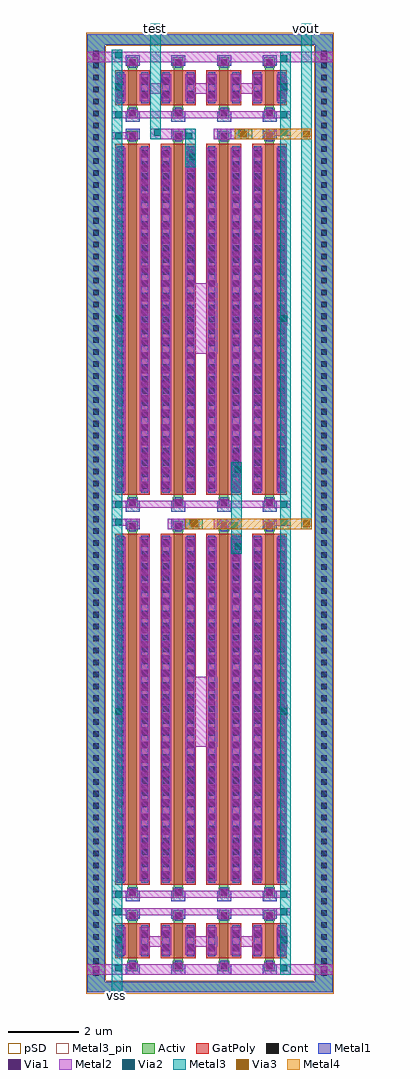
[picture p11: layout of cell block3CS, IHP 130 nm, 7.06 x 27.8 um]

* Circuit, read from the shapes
.subckt block3CS test vout vss
XM1 vss vss vss vss sg13_lv_nmos w=0.25u l=1u m=8
XM2 vss vss vss vss sg13_lv_nmos w=0.25u l=10u m=4
XM3 vout test vss vss sg13_lv_nmos w=0.25u l=10u m=2
XM4 test test vss vss sg13_lv_nmos w=0.25u l=10u m=2
.ends

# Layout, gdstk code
from math import pi, radians
import gdstk
lib = gdstk.Library(unit=1e-6, precision=1e-09)
def R(c, l, rs):  # rectangles x0, y0, x1, y1
    for r in rs: c.add(gdstk.rectangle(r[:2], r[2:], *l))
def A(c, l, x, y, w, h, nx, ny, dx, dy):  # array of equal rectangles
    R(c, l, [(x+i*dx, y+j*dy, x+i*dx+w, y+j*dy+h) for i in range(nx) for j in range(ny)])
Activ = (1, 0)
GatPoly = (5, 0)
Cont = (6, 0)
Metal1 = (8, 0)
Metal2 = (10, 0)
pSD = (14, 0)
Via1 = (19, 0)
Via2 = (29, 0)
Metal3 = (30, 0)
Metal3_pin = (30, 2)
Via3 = (49, 0)
Metal4 = (50, 0)

sg13_lv_nmos_aly7dy = lib.new_cell('sg13_lv_nmos_ALY7DY')
R(sg13_lv_nmos_aly7dy, Activ, [(-0.87,-0.15,-0.57,-0.125), (0.57,-0.15,0.87,-0.125), (-0.87,-0.125,0.87,0.125), (-0.87,0.125,-0.57,0.15), (0.57,0.125,0.87,0.15)])
R(sg13_lv_nmos_aly7dy, GatPoly, [(-0.5,-0.495,0.5,0.495)])
R(sg13_lv_nmos_aly7dy, Cont, [(-0.25,-0.425,-0.09,-0.265), (0.09,-0.425,0.25,-0.265), (-0.8,-0.08,-0.64,0.08), (0.64,-0.08,0.8,0.08), (-0.25,0.265,-0.09,0.425), (0.09,0.265,0.25,0.425)])
R(sg13_lv_nmos_aly7dy, Metal1, [(-0.44,-0.45,0.44,-0.24), (-0.87,-0.105,-0.57,0.105), (0.57,-0.105,0.87,0.105), (-0.44,0.24,0.44,0.45)])
R(sg13_lv_nmos_aly7dy, Metal2, [(-0.39,-0.49,0.39,-0.2), (-0.82,-0.145,-0.62,0.145), (0.62,-0.145,0.82,0.145), (-0.39,0.2,0.39,0.49)])
R(sg13_lv_nmos_aly7dy, Via1, [(-0.3,-0.44,-0.11,-0.25), (0.11,-0.44,0.3,-0.25), (-0.815,-0.095,-0.625,0.095), (0.625,-0.095,0.815,0.095), (-0.3,0.25,-0.11,0.44), (0.11,0.25,0.3,0.44)])
sg13_lv_nmos_aly7dy.add(gdstk.Label('D', (-0.72,0), layer=8, texttype=25))
sg13_lv_nmos_aly7dy.add(gdstk.Label('S', (0.72,0), layer=8, texttype=25))
sg13_lv_nmos_aly7dy.add(gdstk.Label('G', (0,0.345), layer=8, texttype=25))

sg13_lv_nmos_j5gmh3 = lib.new_cell('sg13_lv_nmos_J5GMH3')
R(sg13_lv_nmos_j5gmh3, Activ, [(-5.37,-0.15,-5.07,-0.125), (5.07,-0.15,5.37,-0.125), (-5.37,-0.125,5.37,0.125), (-5.37,0.125,-5.07,0.15), (5.07,0.125,5.37,0.15)])
R(sg13_lv_nmos_j5gmh3, GatPoly, [(-5,-0.495,5,0.495)])
A(sg13_lv_nmos_j5gmh3, Cont, -4.84, -0.425, 0.16, 0.16, 29, 2, 0.34, 0.69)
R(sg13_lv_nmos_j5gmh3, Cont, [(-5.3,-0.08,-5.14,0.08), (5.14,-0.08,5.3,0.08)])
R(sg13_lv_nmos_j5gmh3, Metal1, [(-4.94,-0.45,4.94,-0.24), (-5.37,-0.105,-5.07,0.105), (5.07,-0.105,5.37,0.105), (-4.94,0.24,4.94,0.45)])
R(sg13_lv_nmos_j5gmh3, Metal2, [(-4.89,-0.49,4.89,-0.2), (-5.32,-0.145,-5.12,0.145), (5.12,-0.145,5.32,0.145), (-4.89,0.2,4.89,0.49)])
A(sg13_lv_nmos_j5gmh3, Via1, -4.81, -0.44, 0.19, 0.19, 24, 2, 0.41, 0.69)
R(sg13_lv_nmos_j5gmh3, Via1, [(-5.315,-0.095,-5.125,0.095), (5.125,-0.095,5.315,0.095)])
sg13_lv_nmos_j5gmh3.add(gdstk.Label('D', (-5.22,0), layer=8, texttype=25))
sg13_lv_nmos_j5gmh3.add(gdstk.Label('S', (5.22,0), layer=8, texttype=25))
sg13_lv_nmos_j5gmh3.add(gdstk.Label('G', (0,0.345), layer=8, texttype=25))

block3cs = lib.new_cell('block3CS')
R(block3cs, Activ, [(-0.8,-13.8,6.2,-13.5), (-0.8,-13.5,-0.3,13.2), (5.7,-13.5,6.2,13.2), (-0.8,13.2,6.2,13.5)])
A(block3cs, Cont, -0.63, -13.32, 0.16, 0.16, 1, 78, 0, 0.34)
A(block3cs, Cont, 5.87, -13.32, 0.16, 0.16, 1, 78, 0, 0.34)
A(block3cs, Metal1, 0.3, -13.3, 0.4, 0.3, 4, 2, 1.3, 1.6)
A(block3cs, Metal1, 0.3, -11.2, 0.4, 0.3, 4, 2, 1.3, 10.6)
A(block3cs, Metal1, 0.3, -0.1, 0.4, 0.3, 4, 2, 1.3, 10.6)
A(block3cs, Metal1, 0.3, 11, 0.4, 0.3, 4, 2, 1.3, 1.6)
R(block3cs, Metal1, [(-0.8,-13.8,6.2,-13.5), (-0.8,-13.5,-0.3,13.2), (5.7,-13.5,6.2,13.2), (-0.8,13.2,6.2,13.5)])
A(block3cs, Metal2, -0.1, -11.1, 5.1, 0.2, 1, 3, 0, 11.1)
R(block3cs, Metal2, [(-0.8,-13.3,6.2,-13), (0,-12.5,0.2,-12.1), (0.8,-12.5,1.5,-12.2), (2.1,-12.5,2.9,-12.2), (3.3,-12.5,4.1,-12.2), (4.7,-12.5,4.9,-12.1), (-0.1,-11.6,5,-11.4), (2,-6.8,2.9,-4.8), (0,-6,0.2,-5.6), (4.7,-6,4.9,-5.6), (3.4,-1.3,3.6,-0.9), (1.5,-0.6,2.4,-0.3), (2.8,-0.6,3.6,-0.3), (-0.1,-0.5,0.7,-0.3), (4.2,-0.5,5,-0.3), (3.4,0.9,3.6,1.3), (2,4.4,2.9,6.4), (0,5.2,0.2,5.6), (4.7,5.2,4.9,5.6), (2.1,9.8,2.3,10.2), (-0.1,10.5,0.6,10.7), (1,10.5,2.3,10.8), (2.8,10.5,3.8,10.8), (4.3,10.6,5,10.8), (0,11.8,0.2,12.3), (0.8,11.8,1.5,12.1), (2,11.8,2.8,12.1), (3.3,11.8,4.1,12.1), (4.7,11.8,4.9,12.2), (-0.8,12.7,6.2,13)])
R(block3cs, pSD, [(-0.83,-13.83,6.23,-13.47), (-0.83,-13.47,-0.27,13.17), (5.67,-13.47,6.23,13.17), (-0.83,13.17,6.23,13.53)])
R(block3cs, Via1, [(-0.645,-13.245,-0.455,-13.055), (5.855,-13.245,6.045,-13.055), (-0.645,12.755,-0.455,12.945), (5.855,12.755,6.045,12.945)])
A(block3cs, Via2, 0.005, -13.195, 0.19, 0.19, 1, 3, 0, 0.8)
A(block3cs, Via2, 4.705, -13.195, 0.19, 0.19, 1, 3, 0, 0.8)
A(block3cs, Via2, 4.705, 0.005, 0.19, 0.19, 1, 3, 0, 5.3)
A(block3cs, Via2, 4.705, 11.105, 0.19, 0.19, 1, 3, 0, 0.8)
R(block3cs, Via2, [(0.005,-11.095,0.195,-10.905), (4.705,-11.095,4.895,-10.905), (0.005,-5.895,0.195,-5.705), (4.705,-5.895,4.895,-5.705), (3.405,-1.195,3.595,-1.005), (3.305,-0.595,3.495,-0.405), (0.005,-0.495,0.195,-0.305), (2.105,-0.495,2.295,-0.305), (4.705,-0.495,4.895,-0.305), (0.005,0.005,0.195,0.195), (3.405,1.005,3.595,1.195), (0.005,5.305,0.195,5.495), (2.105,9.905,2.295,10.095), (0.005,10.505,0.195,10.695), (2.005,10.505,2.195,10.695), (1.105,10.605,1.295,10.795), (3.505,10.605,3.695,10.795), (0.005,11.105,0.195,11.295), (0.005,11.905,0.195,12.095), (0.005,12.805,0.195,12.995)])
R(block3cs, Metal3, [(-0.1,-14,0.2,13.05), (4.7,-13.3,5,13), (3.3,-1.3,3.6,1.3), (2,-0.6,2.5,-0.3), (5.3,-0.6,5.6,13.8), (2,9.7,2.3,10.8), (1,10.5,1.3,13.8), (3.4,10.5,3.9,10.8)])
R(block3cs, Metal3_pin, [(-0.1,-14,0.2,-13.75), (1,13.5,1.3,13.8), (5.3,13.5,5.6,13.8)])
R(block3cs, Via3, [(2.155,-0.545,2.345,-0.355), (5.355,-0.545,5.545,-0.355), (3.555,10.555,3.745,10.745), (5.355,10.555,5.545,10.745)])
R(block3cs, Metal4, [(2,-0.6,5.6,-0.3), (3.4,10.5,5.6,10.8)])
block3cs.add(gdstk.Reference(sg13_lv_nmos_aly7dy, (0.495,-12.33), rotation=3*pi/2))
block3cs.add(gdstk.Reference(sg13_lv_nmos_j5gmh3, (0.495,-5.73), rotation=3*pi/2))
block3cs.add(gdstk.Reference(sg13_lv_nmos_aly7dy, (1.795,-12.33), rotation=3*pi/2))
block3cs.add(gdstk.Reference(sg13_lv_nmos_j5gmh3, (1.795,-5.73), rotation=3*pi/2))
block3cs.add(gdstk.Reference(sg13_lv_nmos_aly7dy, (3.095,-12.33), rotation=3*pi/2))
block3cs.add(gdstk.Reference(sg13_lv_nmos_j5gmh3, (3.095,-5.73), rotation=3*pi/2))
block3cs.add(gdstk.Reference(sg13_lv_nmos_aly7dy, (4.395,-12.33), rotation=3*pi/2))
block3cs.add(gdstk.Reference(sg13_lv_nmos_j5gmh3, (4.395,-5.73), rotation=3*pi/2))
block3cs.add(gdstk.Reference(sg13_lv_nmos_j5gmh3, (0.495,5.37), rotation=3*pi/2))
block3cs.add(gdstk.Reference(sg13_lv_nmos_j5gmh3, (1.795,5.37), rotation=3*pi/2))
block3cs.add(gdstk.Reference(sg13_lv_nmos_j5gmh3, (3.095,5.37), rotation=3*pi/2))
block3cs.add(gdstk.Reference(sg13_lv_nmos_j5gmh3, (4.395,5.37), rotation=3*pi/2))
block3cs.add(gdstk.Reference(sg13_lv_nmos_aly7dy, (0.495,11.97), rotation=3*pi/2))
block3cs.add(gdstk.Reference(sg13_lv_nmos_aly7dy, (1.795,11.97), rotation=3*pi/2))
block3cs.add(gdstk.Reference(sg13_lv_nmos_aly7dy, (3.095,11.97), rotation=3*pi/2))
block3cs.add(gdstk.Reference(sg13_lv_nmos_aly7dy, (4.395,11.97), rotation=3*pi/2))
block3cs.add(gdstk.Label('test', (1.15,13.65), layer=30, texttype=25))
block3cs.add(gdstk.Label('vout', (5.45,13.65), layer=30, texttype=25))
block3cs.add(gdstk.Label('vss', (0.05,-13.875), layer=30, texttype=25))

lib.write_gds('block3CS.gds')
